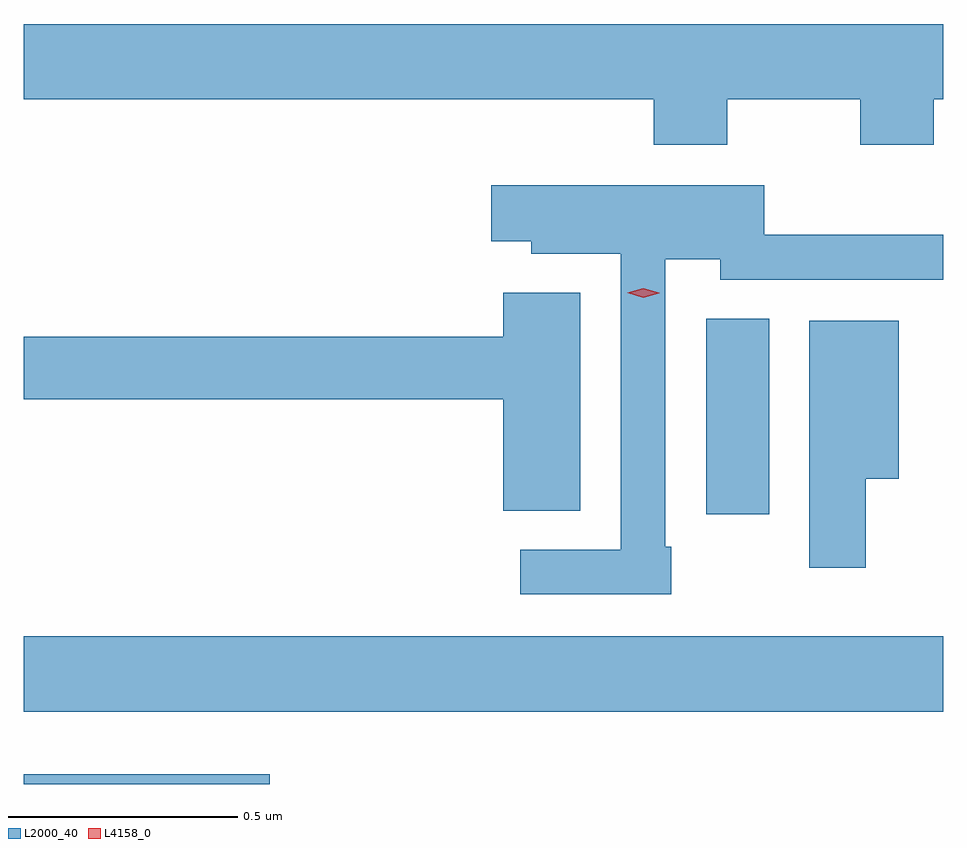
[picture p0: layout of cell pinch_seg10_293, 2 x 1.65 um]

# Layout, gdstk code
import gdstk
lib = gdstk.Library(unit=1e-6, precision=1e-09)
def R(c, l, rs):  # rectangles x0, y0, x1, y1
    for r in rs: c.add(gdstk.rectangle(r[:2], r[2:], *l))
def P(c, l, *ps):  # polygons
    for p in ps: c.add(gdstk.Polygon(p, *l))
L2000_40 = (2000, 40)
L4158_0 = (4158, 0)

pinch_seg10_293 = lib.new_cell('pinch_seg10_293')
R(pinch_seg10_293, L2000_40, [(502.647,1294.831,503.182,1294.852), (502.647,1294.988,504.647,1295.152), (504.131,1295.418,504.268,1295.843)])
P(pinch_seg10_293, L2000_40, [(504.177,1296.32),(504.466,1296.32),(504.466,1296.221),(504.626,1296.221),(504.626,1296.32),(504.647,1296.32),(504.647,1296.484),(502.647,1296.484),(502.647,1296.32),(504.017,1296.32),(504.017,1296.221),(504.177,1296.221)],
  [(504.055,1295.347),(504.042,1295.347),(504.042,1295.972),(504.162,1295.972),(504.162,1295.928),(504.647,1295.928),(504.647,1296.026),(504.258,1296.026),(504.258,1296.133),(503.664,1296.133),(503.664,1296.011),(503.751,1296.011),(503.751,1295.984),(503.946,1295.984),(503.946,1295.34),(503.727,1295.34),(503.727,1295.244),(504.055,1295.244)],
  [(503.857,1295.899),(503.69,1295.899),(503.69,1295.804),(502.647,1295.804),(502.647,1295.668),(503.69,1295.668),(503.69,1295.425),(503.857,1295.425)],
  [(504.478,1295.495),(504.55,1295.495),(504.55,1295.839),(504.356,1295.839),(504.356,1295.301),(504.478,1295.301)])
P(pinch_seg10_293, L4158_0, [(503.994,1295.889),(503.96,1295.9),(503.959,1295.9),(503.96,1295.9),(503.994,1295.909),(504.029,1295.899),(504.029,1295.898),(504.029,1295.898)])

lib.write_gds('pinch_seg10_293.gds')
